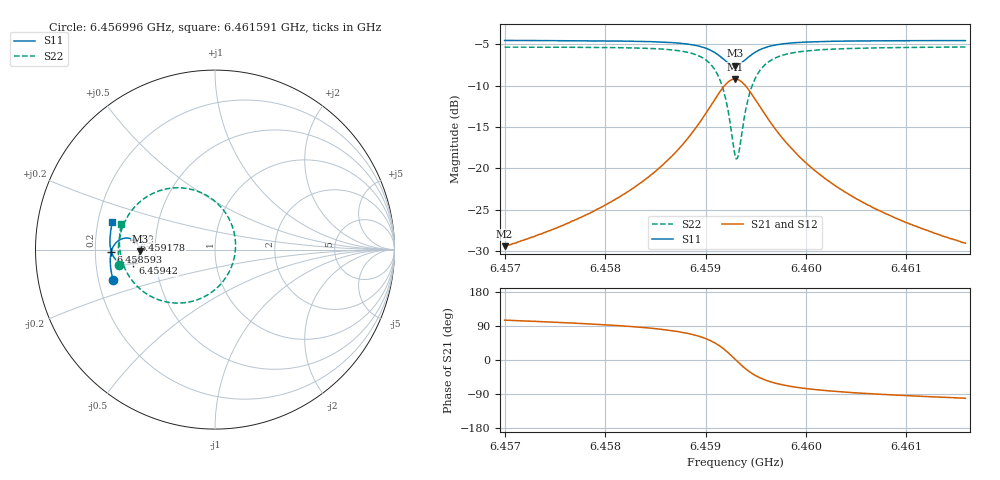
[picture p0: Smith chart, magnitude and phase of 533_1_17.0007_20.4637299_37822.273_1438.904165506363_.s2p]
#  HZ  S  RI  R  50.00
! Rohde & Schwarz Vector Network Analyzer
! Rohde-Schwarz,ZNB20-2Port,1311601062101988,3.16
! Created: UTC 3/20/2024, 11:15:59 PM
! freq[Hz]  re:S11  im:S11  re:S21  im:S21  re:S12  im:S12  re:S22  im:S22
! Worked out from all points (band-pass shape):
!   401 points, 6.456996 GHz to 6.461591 GHz, reference 50 ohm
!   highest |S21| = -9.21 dB at 6.459293 GHz (marker M1); lowest = -29.4 dB at 6.456996 GHz (marker M2)
!   |S21| within 3 dB of the highest: 6.459064 GHz to 6.459523 GHz (459 kHz wide, 0.00711 % of centre)
!   lowest |S11| = -7.6 dB at 6.459293 GHz (marker M3), VSWR 2.44, Z = 20.5 - j0.459 ohm
!   |S11| at or under -10 dB: nowhere
!   |S22| runs from -18.9 to -5.3 dB; largest |S21 - S12| = 0.014
!   S11 on the Smith chart (normalised r, x): 6.456996 GHz: 0.26, -0.14; 6.458593 GHz: 0.27, -0.01; 6.459178 GHz: 0.37, +0.05; 6.45942 GHz: 0.37, -0.07; 6.461591 GHz: 0.26, +0.12
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6.4569959e9  -0.567 -0.1709  -0.00888 0.0326  -0.0071 0.0325  -0.533 -0.0832
6.4577655e9  -0.5809 -0.1033  -0.0055 0.0505  -0.00301 0.0499  -0.5382 0.00699
6.458202e9  -0.5838 -0.0596  0.000944 0.0707  0.00407 0.0693  -0.5294 0.0766
6.4585351e9  -0.5797 -0.0197  0.0146 0.0988  0.0184 0.0962  -0.5041 0.1523
6.4585926e9  -0.5779 -0.0118  0.0188 0.1058  0.0228 0.1026  -0.4958 0.1688
6.4587993e9  -0.5649 0.0204  0.0465 0.1381  0.0506 0.1333  -0.444 0.2417
6.4589487e9  -0.5423 0.0467  0.0918 0.1688  0.095 0.1619  -0.3602 0.3062
6.4590865e9  -0.4983 0.0642  0.1793 0.1851  0.1801 0.1778  -0.2003 0.3445
6.4591784e9  -0.4537 0.0538  0.2694 0.1538  0.2696 0.1478  -0.0334 0.2937
6.4592473e9  -0.4247 0.0217  0.3298 0.0816  0.332 0.0763  0.0824 0.1634
6.4592933e9  -0.4177 -0.00923  0.3462 0.0134  0.3499 0.00639  0.1145 0.0359
6.4593048e9  -0.4182 -0.0174  0.3459 -0.00453  0.3499 -0.0121  0.114 0.00217
6.4593277e9  -0.4218 -0.033  0.3404 -0.0391  0.3442 -0.0483  0.1026 -0.0639
6.4593737e9  -0.4374 -0.0592  0.3114 -0.0993  0.3137 -0.1111  0.0444 -0.1775
6.4594196e9  -0.4596 -0.0754  0.2691 -0.1402  0.2683 -0.1537  -0.0413 -0.2523
6.4595115e9  -0.503 -0.0822  0.1841 -0.1713  0.1779 -0.1828  -0.2111 -0.2981
6.4596609e9  -0.5467 -0.0616  0.0961 -0.1572  0.0874 -0.1634  -0.3791 -0.248
6.4598217e9  -0.5684 -0.0339  0.0511 -0.1292  0.0435 -0.1319  -0.4595 -0.1754
6.4600629e9  -0.581 0.00169  0.0221 -0.0973  0.0162 -0.098  -0.5074 -0.0925
6.460442e9  -0.5855 0.0463  0.00517 -0.0685  0.0012 -0.068  -0.5294 -0.00669
6.4608325e9  -0.5835 0.0853  -0.00158 -0.0519  -0.0044 -0.0511  -0.5326 0.0551
6.4615907e9  -0.5713 0.1526  -0.00674 -0.0346  -0.00842 -0.0336  -0.521 0.1447
